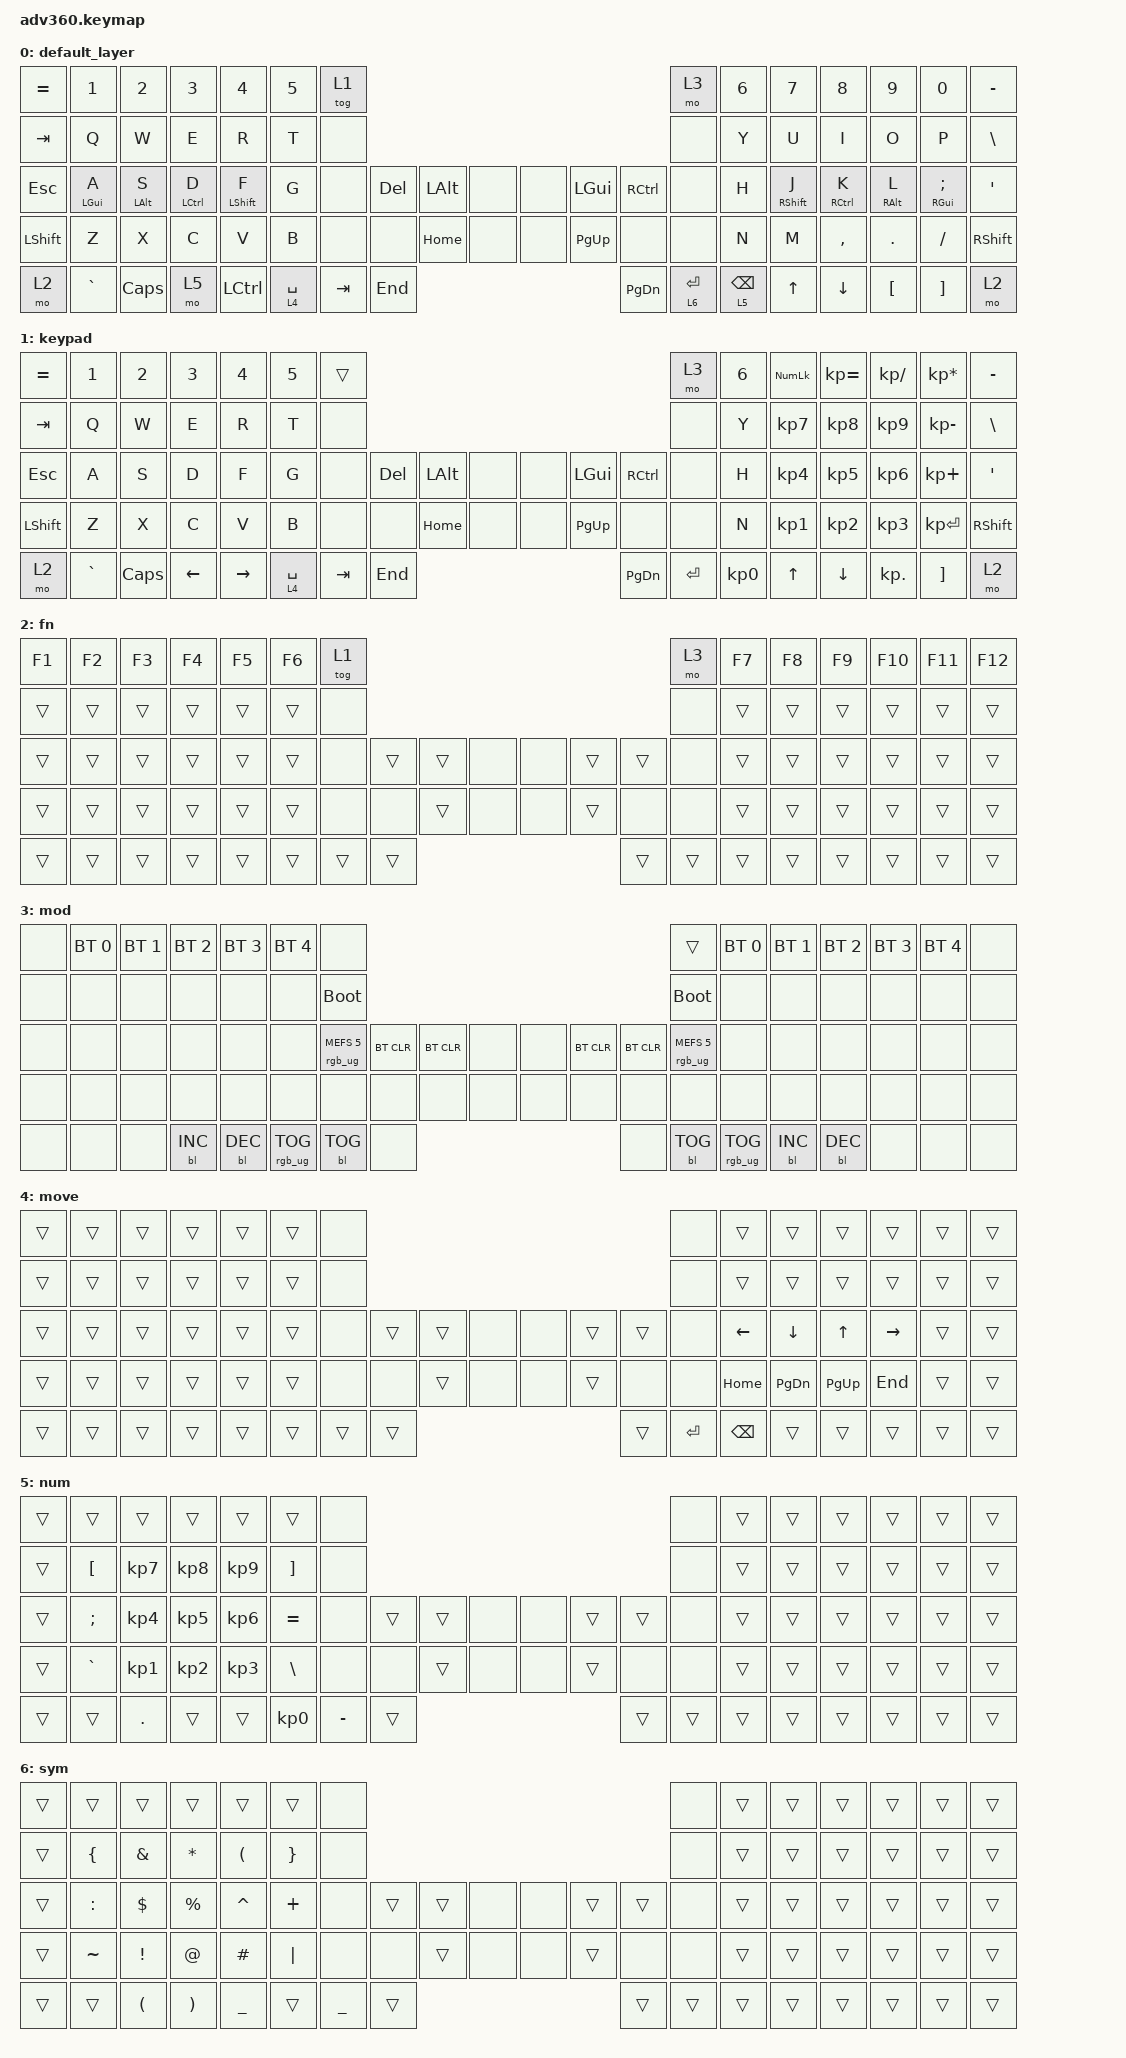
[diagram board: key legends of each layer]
#include <behaviors.dtsi>
#include <dt-bindings/zmk/keys.h>
#include <dt-bindings/zmk/bt.h>
#include <dt-bindings/zmk/rgb.h>
#include <dt-bindings/zmk/backlight.h>

/ {
    behaviors {
      #include "macros.dtsi"

      hm: homerow_mods {
          compatible = "zmk,behavior-hold-tap";
          label = "HOMEROW_MODS";
          #binding-cells = <2>;
          tapping-term-ms = <200>;
          flavor = "tap-preferred";
          bindings = <&kp>, <&kp>;
      };
    };

    // Home row mods
    #define _F_SFT &hm LSHFT F  // Shift on index fingers
    #define _J_SFT &hm RSHFT J
    #define _A_CMD &hm LGUI A   // Command on middle fingers
    #define _se_CMD &hm RGUI SEMI
    #define _D_CTL &hm LCTRL D  // Control on index down
    #define _K_CTL &hm RCTRL K
    #define _S_OPT &hm LALT S   // Option on ring finger
    #define _L_OPT &hm RALT L
    
    #define _M_SPC &lt 4 SPACE
    #define _N_BSP &lt 5 BSPC
    #define _S_ENT &lt 6 ENTER

  keymap {
    compatible = "zmk,keymap";

    default_layer {
      bindings = <
        &kp EQUAL &kp N1    &kp N2   &kp N3   &kp N4     &kp N5 &tog 1                                                                       &mo 3 &kp N6 &kp N7 &kp N8    &kp N9   &kp N0   &kp MINUS
        &kp TAB   &kp Q     &kp W    &kp E    &kp R      &kp T  &none                                                                        &none &kp Y  &kp U  &kp I     &kp O    &kp P    &kp BSLH
        &kp ESC   _A_CMD    _S_OPT   _D_CTL   _F_SFT     &kp G  &none           &kp DEL &kp LALT &none &none &kp LGUI  &kp RCTRL           &none &kp H  _J_SFT _K_CTL    _L_OPT   _se_CMD  &kp SQT
        &kp LSHFT &kp Z     &kp X    &kp C    &kp V      &kp B         &none    &none     &kp HOME &none &none &kp PG_UP &none     &none           &kp N  &kp M  &kp COMMA &kp DOT  &kp FSLH &kp RSHFT
        &mo 2     &kp GRAVE &kp CAPS &mo 5    &kp LCTRL                _M_SPC   &kp TAB   &kp END              &kp PG_DN _S_ENT _N_BSP &kp UP &kp DOWN  &kp LBKT &kp RBKT &mo 2
      >;
    };
    keypad {
      bindings = <
        &kp EQUAL &kp N1    &kp N2   &kp N3   &kp N4     &kp N5 &trans                                                                       &mo 3 &kp N6 &kp KP_NUM &kp KP_EQUAL &kp KP_DIVIDE &kp KP_MULTIPLY &kp MINUS
        &kp TAB   &kp Q     &kp W    &kp E    &kp R      &kp T  &none                                                                        &none &kp Y  &kp KP_N7  &kp KP_N8    &kp KP_N9     &kp KP_MINUS    &kp BSLH
        &kp ESC   &kp A     &kp S    &kp D    &kp F      &kp G  &none           &kp DEL &kp LALT &none &none &kp LGUI  &kp RCTRL           &none &kp H  &kp KP_N4  &kp KP_N5    &kp KP_N6     &kp KP_PLUS     &kp SQT
        &kp LSHFT &kp Z     &kp X    &kp C    &kp V      &kp B         &none    &none     &kp HOME &none &none &kp PG_UP &none     &none           &kp N  &kp KP_N1  &kp KP_N2    &kp KP_N3     &kp KP_ENTER    &kp RSHFT
        &mo 2     &kp GRAVE &kp CAPS &kp LEFT &kp RIGHT                _M_SPC   &kp TAB    &kp END              &kp PG_DN &kp ENTER &kp KP_N0              &kp UP     &kp DOWN     &kp KP_DOT    &kp RBKT        &mo 2
      >;
    };
    fn {
      bindings = <
        &kp F1 &kp F2 &kp F3 &kp F4 &kp F5 &kp F6 &tog 1                                                       &mo 3 &kp F7 &kp F8 &kp F9 &kp F10 &kp F11 &kp F12
        &trans &trans &trans &trans &trans &trans  &none                                                       &none &trans &trans &trans &trans  &trans  &trans
        &trans &trans &trans &trans &trans &trans  &none        &trans &trans &none &none &trans &trans        &none &trans &trans &trans &trans  &trans  &trans
        &trans &trans &trans &trans &trans &trans        &none  &none  &trans &none &none &trans &none  &none        &trans &trans &trans &trans  &trans  &trans
        &trans &trans &trans &trans &trans               &trans &trans &trans             &trans &trans &trans              &trans &trans &trans  &trans  &trans
      >;
    };
    mod {
      bindings = <
        &none &bt BT_SEL 0 &bt BT_SEL 1 &bt BT_SEL 2 &bt BT_SEL 3 &bt BT_SEL 4 &none                                                                                                          &trans                 &bt BT_SEL 0 &bt BT_SEL 1 &bt BT_SEL 2 &bt BT_SEL 3 &bt BT_SEL 4 &none
        &none &none        &none        &none        &none        &none        &bootloader                                                                                                    &bootloader            &none        &none        &none        &none        &none        &none
        &none &none        &none        &none        &none        &none        &rgb_ug RGB_MEFS_CMD 5                 &bt BT_CLR &bt BT_CLR &none &none &bt BT_CLR &bt BT_CLR                 &rgb_ug RGB_MEFS_CMD 5 &none        &none        &none        &none        &none        &none
        &none &none        &none        &none        &none        &none                               &none           &none      &none      &none &none &none      &none      &none                                  &none        &none        &none        &none        &none        &none
        &none &none        &none        &bl BL_INC   &bl BL_DEC                                       &rgb_ug RGB_TOG &bl BL_TOG &none                  &none      &bl BL_TOG &rgb_ug RGB_TOG                                     &bl BL_INC   &bl BL_DEC   &none        &none        &none
      >;
    };
    move {
      bindings = <
        &trans &trans &trans &trans &trans &trans  &none                                                       &none &trans &trans &trans &trans  &trans  &trans
        &trans &trans &trans &trans &trans &trans  &none                                                       &none &trans &trans &trans &trans  &trans  &trans
        &trans &trans &trans &trans &trans &trans  &none        &trans &trans &none &none &trans &trans        &none &kp LEFT &kp DOWN &kp UP &kp RIGHT  &trans  &trans
        &trans &trans &trans &trans &trans &trans        &none  &none  &trans &none &none &trans &none  &none        &kp HOME &kp PG_DN &kp PG_UP &kp END &trans  &trans
        &trans &trans &trans &trans &trans               &trans &trans &trans             &trans &kp ENTER &kp BSPC            &trans &trans &trans  &trans  &trans
      >;
    };
    num {
      bindings = <
        &trans &trans &trans &trans &trans &trans  &none                                                       &none &trans &trans &trans &trans  &trans  &trans
        &trans &kp LBKT &kp KP_N7 &kp KP_N8 &kp KP_N9 &kp RBKT &none                                                       &none &trans &trans &trans &trans  &trans  &trans
        &trans &kp SEMI &kp KP_N4 &kp KP_N5 &kp KP_N6 &kp EQUAL &none        &trans &trans &none &none &trans &trans        &none &trans &trans &trans &trans  &trans  &trans
        &trans &kp GRAVE &kp KP_N1 &kp KP_N2 &kp KP_N3 &kp BSLH &none  &none  &trans &none &none &trans &none  &none        &trans &trans &trans &trans  &trans  &trans
        &trans &trans &kp DOT &trans &trans               &kp KP_N0 &kp MINUS &trans             &trans &trans &trans              &trans &trans &trans  &trans  &trans
      >;
    };
    sym {
      bindings = <
        &trans &trans &trans &trans &trans &trans  &none                                                       &none &trans &trans &trans &trans  &trans  &trans
        &trans &kp LBRC &kp AMPS &kp ASTRK &kp LPAR &kp RBRC &none                                                    &none &trans &trans &trans &trans  &trans  &trans
        &trans &kp COLON &kp DLLR &kp PRCNT &kp CARET &kp PLUS &none   &trans &trans &none &none &trans &trans        &none &trans &trans &trans &trans  &trans  &trans
        &trans &kp TILDE &kp EXCL &kp AT &kp HASH &kp PIPE      &none  &none  &trans &none &none &trans &none  &none        &trans &trans &trans &trans  &trans  &trans
        &trans &trans &kp LPAR &kp RPAR &kp UNDER               &trans &kp UNDER &trans             &trans &trans &trans              &trans &trans &trans  &trans  &trans
      >;
    };
  };
};
